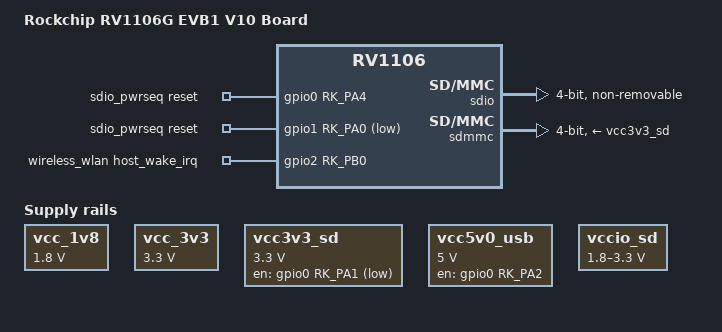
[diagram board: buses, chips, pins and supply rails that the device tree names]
// SPDX-License-Identifier: (GPL-2.0+ OR MIT)
/*
 * Copyright (c) 2022 Rockchip Electronics Co., Ltd.
 */

/dts-v1/;

#include "rv1106.dtsi"
#include "rv1106-evb-v10.dtsi"
#include "rv1106-evb-cam.dtsi"

/ {
	model = "Rockchip RV1106G EVB1 V10 Board";
	compatible = "rockchip,rv1106g-evb1-v10", "rockchip,rv1106";

	sdio_pwrseq: sdio-pwrseq {
		compatible = "mmc-pwrseq-simple";
		pinctrl-names = "default";
		pinctrl-0 = <&wifi_enable_h &wifi_vbat>;

		/*
		 * On the module itself this is one of these (depending
		 * on the actual card populated):
		 * - SDIO_RESET_L_WL_REG_ON
		 * - PDN (power down when low)
		 */
		post-power-on-delay-ms = <300>;
		reset-gpios = <&gpio0 RK_PA4 GPIO_ACTIVE_HIGH>,
			      <&gpio1 RK_PA0 GPIO_ACTIVE_LOW>;
	};

	vcc_1v8: vcc-1v8 {
		compatible = "regulator-fixed";
		regulator-name = "vcc_1v8";
		regulator-always-on;
		regulator-boot-on;
		regulator-min-microvolt = <1800000>;
		regulator-max-microvolt = <1800000>;
	};

	vcc_3v3: vcc-3v3 {
		compatible = "regulator-fixed";
		regulator-name = "vcc_3v3";
		regulator-always-on;
		regulator-boot-on;
		regulator-min-microvolt = <3300000>;
		regulator-max-microvolt = <3300000>;
	};

	vcc3v3_sd: vcc3v3-sd {
		compatible = "regulator-fixed";
		gpio = <&gpio0 RK_PA1 GPIO_ACTIVE_LOW>;
		regulator-name = "vcc3v3_sd";
		regulator-min-microvolt = <3300000>;
		regulator-max-microvolt = <3300000>;
		pinctrl-names = "default";
		pinctrl-0 = <&sdmmc_pwren>;
	};

	vcc5v0_usb: vcc5v0-usb {
		compatible = "regulator-fixed";
		regulator-name = "vcc5v0_usb";
		regulator-min-microvolt = <5000000>;
		regulator-max-microvolt = <5000000>;
		enable-active-high;
		gpio = <&gpio0 RK_PA2 GPIO_ACTIVE_HIGH>;
		pinctrl-names = "default";
		pinctrl-0 = <&usb_pwren>;
	};

	vccio_sd: vccio-sd {
		compatible = "regulator-gpio";
		regulator-name = "vccio_sd";
		regulator-min-microvolt = <1800000>;
		regulator-max-microvolt = <3300000>;
		gpios = <&gpio0 RK_PA3 GPIO_ACTIVE_HIGH>;
		states = <3300000 1
			  1800000 0>;
		pinctrl-names = "default";
		pinctrl-0 = <&sdmmc_volt>;
	};

	wireless_wlan: wireless-wlan {
		compatible = "wlan-platdata";
		wifi_chip_type = "rtl8189fs";
		pinctrl-names = "default";
		pinctrl-0 = <&wifi_host_wake_irq>;
		WIFI,host_wake_irq = <&gpio2 RK_PB0 GPIO_ACTIVE_HIGH>;
		status = "okay";
	};
};

&pinctrl {
	sdio-pwrseq {
		wifi_enable_h: wifi-enable-h {
			rockchip,pins = <1 RK_PA0 RK_FUNC_GPIO &pcfg_pull_none>;
		};

		wifi_vbat: wifi-vbat {
			rockchip,pins = <0 RK_PA4 RK_FUNC_GPIO &pcfg_pull_none>;
		};
	};

	sdmmc {
		/omit-if-no-ref/
		sdmmc_pwren: sdmmc-pwren {
			rockchip,pins = <0 RK_PA1 RK_FUNC_GPIO &pcfg_pull_none>;
		};

		/omit-if-no-ref/
		sdmmc_volt: sdmmc-volt {
			rockchip,pins = <0 RK_PA3 RK_FUNC_GPIO &pcfg_pull_none>;
		};
	};

	usb {
		usb_pwren: usb-pwren {
			rockchip,pins = <0 RK_PA2 RK_FUNC_GPIO &pcfg_pull_none>;
		};
	};

	wireless-wlan {
		wifi_host_wake_irq: wifi-host-wake-irq {
			rockchip,pins = <2 RK_PB0 RK_FUNC_GPIO &pcfg_pull_none>;
		};
	};
};

&sdio {
	max-frequency = <200000000>;
	no-sd;
	no-mmc;
	bus-width = <4>;
	cap-sd-highspeed;
	cap-sdio-irq;
	keep-power-in-suspend;
	mmc-pwrseq = <&sdio_pwrseq>;
	non-removable;
	sd-uhs-sdr104;
	pinctrl-names = "default";
	pinctrl-0 = <&sdmmc1m0_cmd &sdmmc1m0_clk &sdmmc1m0_bus4 &clk_32k>;
	status = "okay";
};

&sdmmc {
	max-frequency = <200000000>;
	no-sdio;
	no-mmc;
	bus-width = <4>;
	cap-mmc-highspeed;
	cap-sd-highspeed;
	disable-wp;
	pinctrl-names = "default";
	pinctrl-0 = <&sdmmc0_clk &sdmmc0_cmd &sdmmc0_det &sdmmc0_bus4>;
	sd-uhs-sdr12;
	sd-uhs-sdr25;
	sd-uhs-sdr50;
	sd-uhs-sdr104;
	vmmc-supply = <&vcc3v3_sd>;
	vqmmc-supply = <&vccio_sd>;
	status = "okay";
};

&u2phy_otg {
	vbus-supply = <&vcc5v0_usb>;
};
